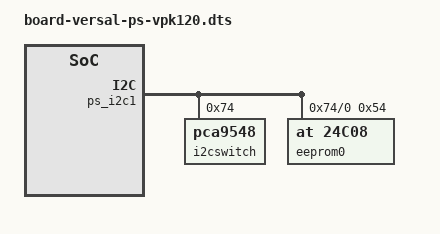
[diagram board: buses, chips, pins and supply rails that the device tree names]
/*
 * Versal VPK120 model
 *
 * Copyright (c) 2021, Xilinx Inc
 * All rights reserved.
 *
 * Redistribution and use in source and binary forms, with or without
 * modification, are permitted provided that the following conditions are met:
 *     * Redistributions of source code must retain the above copyright
 *       notice, this list of conditions and the following disclaimer.
 *     * Redistributions in binary form must reproduce the above copyright
 *       notice, this list of conditions and the following disclaimer in the
 *       documentation and/or other materials provided with the distribution.
 *     * Neither the name of the <organization> nor the
 *       names of its contributors may be used to endorse or promote products
 *       derived from this software without specific prior written permission.
 *
 * THIS SOFTWARE IS PROVIDED BY THE COPYRIGHT HOLDERS AND CONTRIBUTORS "AS IS" AND
 * ANY EXPRESS OR IMPLIED WARRANTIES, INCLUDING, BUT NOT LIMITED TO, THE IMPLIED
 * WARRANTIES OF MERCHANTABILITY AND FITNESS FOR A PARTICULAR PURPOSE ARE
 * DISCLAIMED. IN NO EVENT SHALL <COPYRIGHT HOLDER> BE LIABLE FOR ANY
 * DIRECT, INDIRECT, INCIDENTAL, SPECIAL, EXEMPLARY, OR CONSEQUENTIAL DAMAGES
 * (INCLUDING, BUT NOT LIMITED TO, PROCUREMENT OF SUBSTITUTE GOODS OR SERVICES;
 * LOSS OF USE, DATA, OR PROFITS; OR BUSINESS INTERRUPTION) HOWEVER CAUSED AND
 * ON ANY THEORY OF LIABILITY, WHETHER IN CONTRACT, STRICT LIABILITY, OR TORT
 * (INCLUDING NEGLIGENCE OR OTHERWISE) ARISING IN ANY WAY OUT OF THE USE OF THIS
 * SOFTWARE, EVEN IF ADVISED OF THE POSSIBILITY OF SUCH DAMAGE.
 */

#include "board-versal-xcvp1202-ps-virt.dts"

&ospi {
	/delete-node/ ospi_flash_lcs_lb;
	/delete-node/ ospi_flash_lcs_ub;
	/delete-node/ ospi_flash_ucs_lb;
	/delete-node/ ospi_flash_ucs_ub;
};

&ps_i2c1 {
	i2cswitch@74 {
		#address-cells = <1>;
		#size-cells = <0>;
		reg = <0x74>;
		compatible = "pca9548";
		i2c@0 {
			#address-cells = <1>;
			#size-cells = <0>;
			reg = <0>;
			eeprom0: eeprom@54 {
				compatible = "at,24c08";
				reg = <0x54>;
				size = <0x4000>;
			};
		};
	};
};
